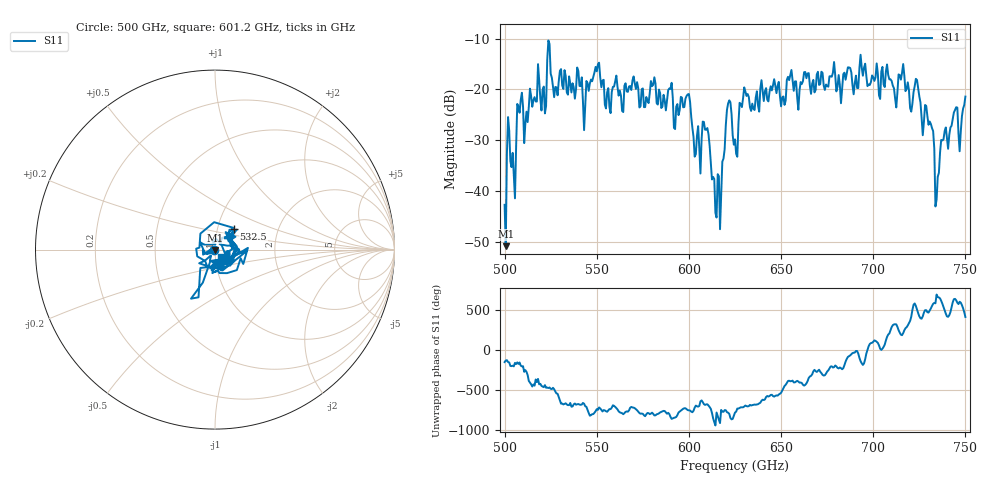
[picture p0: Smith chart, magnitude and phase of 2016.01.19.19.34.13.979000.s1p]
!Created with skrf (http://scikit-rf.org).
# GHz S RI R 50.0
!freq ReS11 ImS11
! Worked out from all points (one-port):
!   401 points, 500 GHz to 750 GHz, reference 50 ohm
!   lowest |S11| = -50.9 dB at 500.6 GHz (marker M1), VSWR 1.01, Z = 49.8 - j0.207 ohm
!   |S11| at or under -10 dB: start of sweep to end of sweep
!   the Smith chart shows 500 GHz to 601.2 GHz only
!   S11 on the Smith chart (normalised r, x): 500 GHz: 0.99, -0.01; 532.5 GHz: 1.20, +0.28; 601.2 GHz: 1.07, -0.09
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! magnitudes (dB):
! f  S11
! 500 GHz  -42.8
! 500.6 GHz  -50.9
! 502.5 GHz  -28.2
! 505 GHz  -36.9
! 508.1 GHz  -24.6
! 521.2 GHz  -19.4
! 524.4 GHz  -11.0
! 527.5 GHz  -19.5
! 531.2 GHz  -19.2
! 532.5 GHz  -16.2
! 550 GHz  -16.4
! 562.5 GHz  -20.2
! 580.6 GHz  -19.1
! 593.8 GHz  -22.9
! 601.2 GHz  -25.4
! 605 GHz  -27.2
! 609.4 GHz  -27.9
! 615.6 GHz  -36.7
! 621.2 GHz  -22.8
! 625 GHz  -29.8
! 630.6 GHz  -20.4
! 656.2 GHz  -18.3
! 687.5 GHz  -15.8
! 718.8 GHz  -18.6
! 729.4 GHz  -25.3
! 735 GHz  -37.2
! 738.1 GHz  -29.8
! 750 GHz  -21.4
